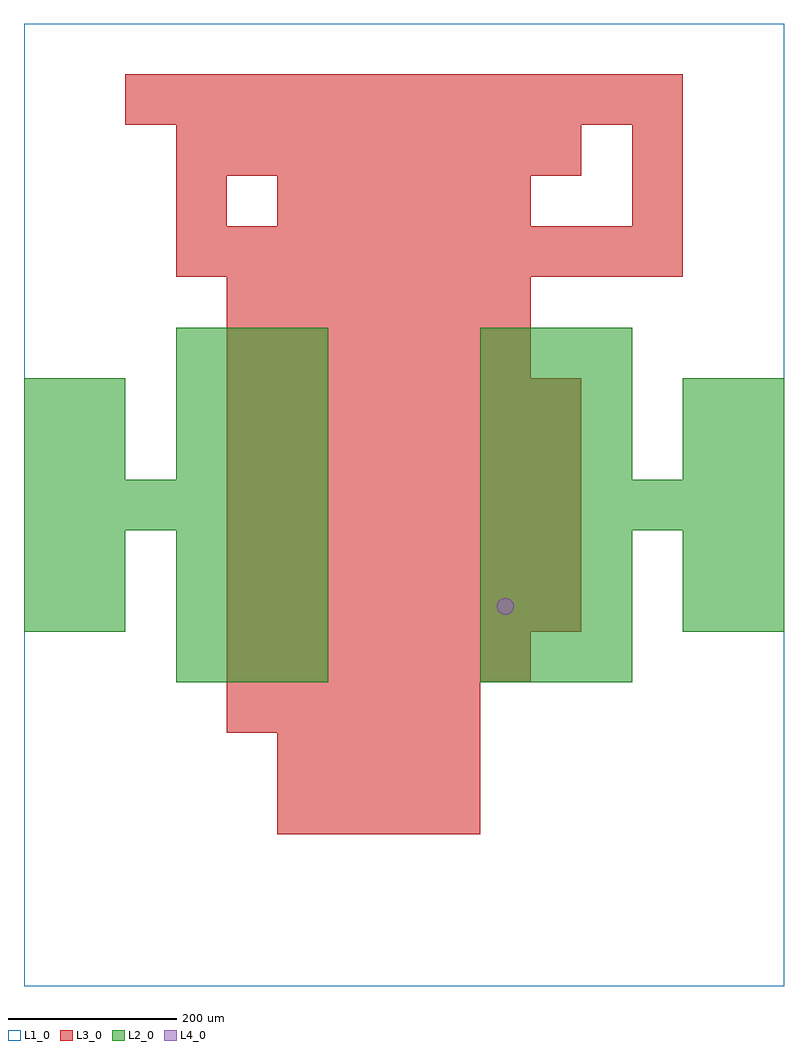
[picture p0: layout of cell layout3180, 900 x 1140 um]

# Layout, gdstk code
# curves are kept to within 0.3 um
import gdstk
lib = gdstk.Library(unit=1e-6, precision=1e-09)
def R(c, l, rs):  # rectangles x0, y0, x1, y1
    for r in rs: c.add(gdstk.rectangle(r[:2], r[2:], *l))
def A(c, l, x, y, w, h, nx, ny, dx, dy):  # array of equal rectangles
    R(c, l, [(x+i*dx, y+j*dy, x+i*dx+w, y+j*dy+h) for i in range(nx) for j in range(ny)])
def P(c, l, *ps):  # polygons
    for p in ps: c.add(gdstk.Polygon(p, *l))
L1_0 = (1, 0)
L2_0 = (2, 0)
L3_0 = (3, 0)
L4_0 = (4, 0)

layout3180 = lib.new_cell('layout3180')
R(layout3180, L1_0, [(0,0,900,1140)])
A(layout3180, L2_0, 180, 360, 60, 60, 3, 3, 60, 60)
A(layout3180, L2_0, 540, 360, 60, 60, 3, 3, 60, 60)
A(layout3180, L2_0, 0, 540, 60, 60, 6, 1, 60, 0)
A(layout3180, L2_0, 540, 540, 60, 60, 6, 1, 60, 0)
A(layout3180, L2_0, 180, 600, 60, 60, 3, 3, 60, 60)
A(layout3180, L2_0, 540, 600, 60, 60, 3, 3, 60, 60)
R(layout3180, L2_0, [(0,420,60,480), (60,420,120,480), (780,420,840,480), (840,420,900,480), (0,480,60,540), (60,480,120,540), (780,480,840,540), (840,480,900,540), (0,600,60,660), (60,600,120,660), (780,600,840,660), (840,600,900,660), (0,660,60,720), (60,660,120,720), (780,660,840,720), (840,660,900,720)])
A(layout3180, L3_0, 300, 180, 60, 60, 4, 2, 60, 60)
A(layout3180, L3_0, 240, 300, 60, 60, 5, 1, 60, 0)
A(layout3180, L3_0, 240, 360, 60, 60, 6, 2, 60, 360)
A(layout3180, L3_0, 240, 420, 60, 60, 7, 5, 60, 60)
A(layout3180, L3_0, 240, 780, 60, 60, 6, 1, 60, 0)
A(layout3180, L3_0, 180, 840, 60, 60, 10, 1, 60, 0)
A(layout3180, L3_0, 300, 900, 60, 60, 5, 1, 60, 0)
A(layout3180, L3_0, 180, 960, 60, 60, 8, 1, 60, 0)
A(layout3180, L3_0, 120, 1020, 60, 60, 11, 1, 60, 0)
R(layout3180, L3_0, [(180,900,240,960), (720,900,780,960), (720,960,780,1020)])
P(layout3180, L4_0, [(580,450),(579.239,453.827),(577.071,457.071),(573.827,459.239),(570,460),(566.173,459.239),(562.929,457.071),(560.761,453.827),(560,450),(560.761,446.173),(562.929,442.929),(566.173,440.761),(570,440),(573.827,440.761),(577.071,442.929),(579.239,446.173)])

lib.write_gds('layout3180.gds')
